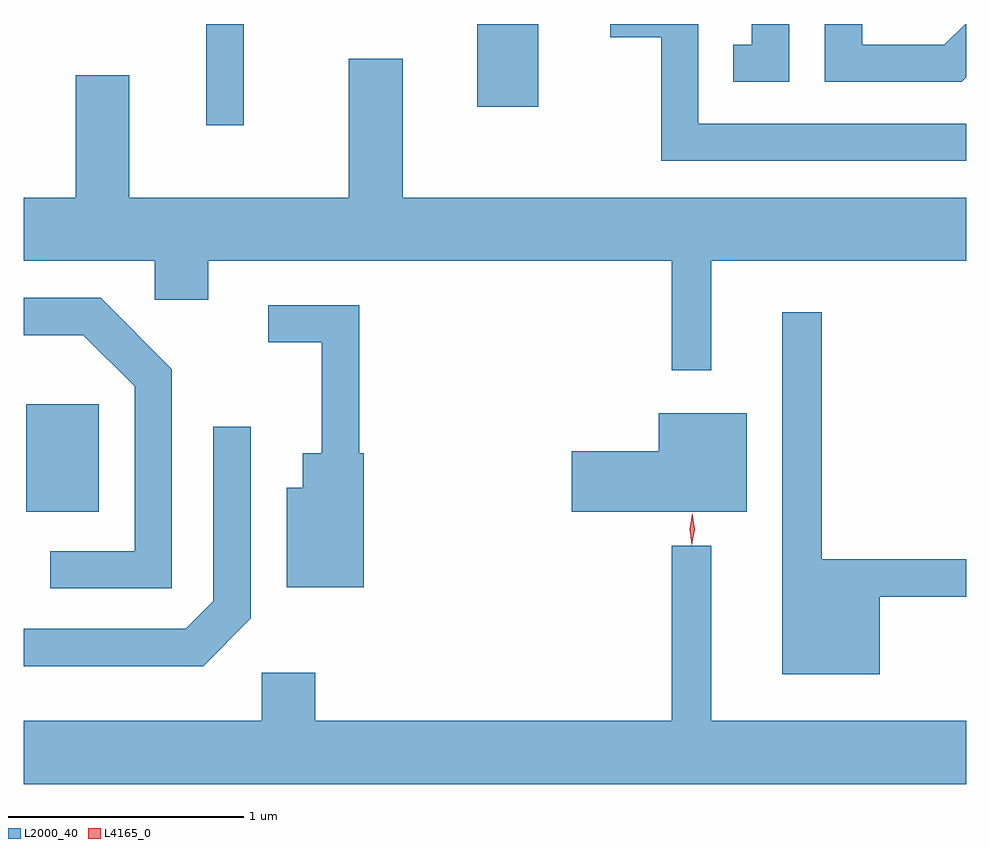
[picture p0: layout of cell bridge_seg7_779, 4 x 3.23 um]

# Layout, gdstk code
import gdstk
lib = gdstk.Library(unit=1e-6, precision=1e-09)
def R(c, l, rs):  # rectangles x0, y0, x1, y1
    for r in rs: c.add(gdstk.rectangle(r[:2], r[2:], *l))
def P(c, l, *ps):  # polygons
    for p in ps: c.add(gdstk.Polygon(p, *l))
L2000_40 = (2000, 40)
L4165_0 = (4165, 0)

bridge_seg7_779 = lib.new_cell('bridge_seg7_779')
R(bridge_seg7_779, L2000_40, [(295.861,1804.271,296.169,1804.729), (296.626,1805.913,296.784,1806.342), (297.776,1805.991,298.034,1806.342)])
P(bridge_seg7_779, L2000_40, [(299.099,1806.342),(298.941,1806.342),(298.941,1806.254),(298.863,1806.254),(298.863,1806.096),(299.099,1806.096)],
  [(299.851,1805.919),(298.714,1805.919),(298.714,1806.342),(298.341,1806.342),(298.341,1806.286),(298.556,1806.286),(298.556,1805.761),(299.851,1805.761)],
  [(299.851,1806.115),(299.851,1806.342),(299.847,1806.342),(299.759,1806.254),(299.409,1806.254),(299.409,1806.342),(299.251,1806.342),(299.251,1806.096),(299.832,1806.096)],
  [(298.769,1805.336),(299.851,1805.336),(299.851,1805.604),(297.459,1805.604),(297.459,1806.194),(297.231,1806.194),(297.231,1805.604),(296.299,1805.604),(296.299,1806.124),(296.071,1806.124),(296.071,1805.604),(295.851,1805.604),(295.851,1805.336),(296.406,1805.336),(296.406,1805.171),(296.634,1805.171),(296.634,1805.336),(298.601,1805.336),(298.601,1804.873),(298.769,1804.873)],
  [(296.479,1804.877),(296.177,1805.179),(295.851,1805.179),(295.851,1805.021),(296.104,1805.021),(296.321,1804.804),(296.321,1804.104),(295.963,1804.104),(295.963,1803.946),(296.479,1803.946)],
  [(297.294,1804.519),(297.274,1804.519),(297.274,1805.149),(296.888,1805.149),(296.888,1804.991),(297.116,1804.991),(297.116,1804.519),(297.036,1804.519),(297.036,1804.374),(296.966,1804.374),(296.966,1803.951),(297.294,1803.951)],
  [(299.484,1803.911),(299.851,1803.911),(299.851,1804.069),(299.239,1804.069),(299.239,1805.118),(299.071,1805.118),(299.071,1803.581),(299.484,1803.581)],
  [(298.919,1804.689),(298.546,1804.689),(298.546,1804.529),(298.176,1804.529),(298.176,1804.271),(298.919,1804.271)],
  [(296.814,1803.819),(296.814,1804.633),(296.656,1804.633),(296.656,1803.892),(296.539,1803.774),(295.851,1803.774),(295.851,1803.616),(296.612,1803.616)],
  [(299.851,1803.384),(298.769,1803.384),(298.769,1804.128),(298.601,1804.128),(298.601,1803.384),(297.089,1803.384),(297.089,1803.589),(296.861,1803.589),(296.861,1803.384),(295.851,1803.384),(295.851,1803.116),(299.851,1803.116)])
P(bridge_seg7_779, L4165_0, [(298.687,1804.133),(298.686,1804.134),(298.678,1804.196),(298.688,1804.259),(298.689,1804.26),(298.689,1804.259),(298.698,1804.196),(298.687,1804.134)],
  [(298.686,1804.13),(298.678,1804.198),(298.688,1804.265),(298.688,1804.266),(298.689,1804.265),(298.698,1804.198),(298.687,1804.13),(298.687,1804.13)])

lib.write_gds('bridge_seg7_779.gds')
